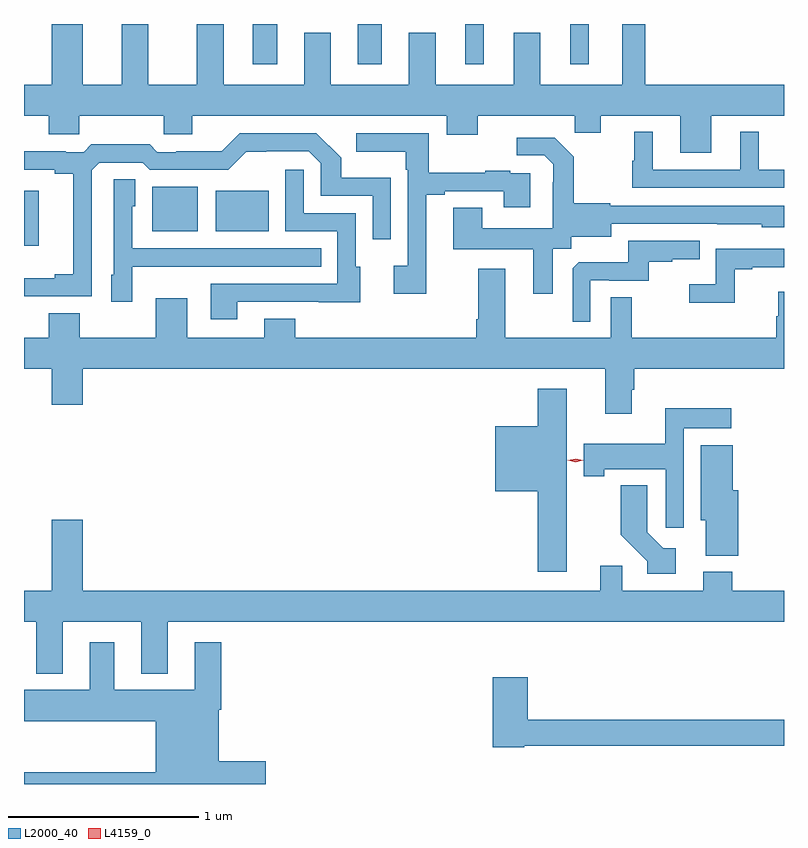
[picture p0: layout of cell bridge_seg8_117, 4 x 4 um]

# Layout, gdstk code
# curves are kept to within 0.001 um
import gdstk
lib = gdstk.Library(unit=1e-6, precision=1e-09)
def R(c, l, rs):  # rectangles x0, y0, x1, y1
    for r in rs: c.add(gdstk.rectangle(r[:2], r[2:], *l))
def P(c, l, *ps):  # polygons
    for p in ps: c.add(gdstk.Polygon(p, *l))
L2000_40 = (2000, 40)
L4159_0 = (4159, 0)

bridge_seg8_117 = lib.new_cell('bridge_seg8_117')
R(bridge_seg8_117, L2000_40, [(812.215,1131.8,812.293,1132.09), (812.891,1131.875,813.13,1132.111), (813.224,1131.875,813.502,1132.09), (813.419,1132.755,813.547,1132.967), (813.971,1132.755,814.099,1132.967), (814.538,1132.755,814.636,1132.967), (815.09,1132.755,815.188,1132.967)])
P(bridge_seg8_117, L2000_40, [(815.833,1132.484),(816.215,1132.484),(816.215,1132.648),(815.485,1132.648),(815.485,1132.967),(815.363,1132.967),(815.363,1132.648),(814.933,1132.648),(814.933,1132.921),(814.793,1132.921),(814.793,1132.648),(814.381,1132.648),(814.381,1132.921),(814.241,1132.921),(814.241,1132.648),(813.829,1132.648),(813.829,1132.921),(813.689,1132.921),(813.689,1132.648),(813.265,1132.648),(813.265,1132.967),(813.125,1132.967),(813.125,1132.648),(812.869,1132.648),(812.869,1132.967),(812.729,1132.967),(812.729,1132.648),(812.524,1132.648),(812.524,1132.967),(812.36,1132.967),(812.36,1132.648),(812.215,1132.648),(812.215,1132.484),(812.345,1132.484),(812.345,1132.386),(812.505,1132.386),(812.505,1132.484),(812.95,1132.484),(812.95,1132.386),(813.1,1132.386),(813.1,1132.484),(814.439,1132.484),(814.439,1132.385),(814.603,1132.385),(814.603,1132.484),(815.113,1132.484),(815.113,1132.394),(815.251,1132.394),(815.251,1132.484),(815.669,1132.484),(815.669,1132.29),(815.833,1132.29)],
  [(816.215,1132.2),(816.082,1132.2),(816.082,1132.399),(815.984,1132.399),(815.984,1132.2),(815.524,1132.2),(815.524,1132.399),(815.426,1132.399),(815.426,1132.248),(815.415,1132.248),(815.415,1132.104),(816.215,1132.104)],
  [(812.571,1132.197),(812.61,1132.236),(812.841,1132.236),(812.877,1132.2),(813.291,1132.2),(813.386,1132.295),(813.714,1132.296),(813.777,1132.233),(813.777,1132.062),(814.05,1132.062),(814.05,1131.834),(814.146,1131.834),(814.146,1132.159),(813.885,1132.159),(813.885,1132.262),(813.754,1132.392),(813.351,1132.392),(813.257,1132.298),(813.016,1132.298),(813.016,1132.293),(812.916,1132.293),(812.877,1132.333),(812.569,1132.333),(812.529,1132.293),(812.435,1132.293),(812.435,1132.298),(812.215,1132.298),(812.215,1132.2),(812.378,1132.2),(812.378,1132.178),(812.474,1132.178),(812.474,1131.65),(812.378,1131.65),(812.378,1131.63),(812.215,1131.63),(812.215,1131.534),(812.571,1131.534)],
  [(814.333,1132.068),(814.429,1132.068),(814.429,1132.086),(814.739,1132.086),(814.739,1132.002),(814.879,1132.002),(814.879,1132.182),(814.775,1132.182),(814.775,1132.195),(814.643,1132.195),(814.643,1132.184),(814.345,1132.184),(814.345,1132.392),(813.963,1132.392),(813.963,1132.295),(814.224,1132.295),(814.224,1132.199),(814.236,1132.199),(814.236,1131.694),(814.161,1131.694),(814.161,1131.546),(814.333,1131.546)],
  [(814.999,1131.784),(815.094,1131.784),(815.094,1131.848),(815.305,1131.848),(815.305,1131.915),(816.099,1131.914),(816.099,1131.896),(816.215,1131.896),(816.215,1132.011),(815.301,1132.011),(815.301,1132.024),(815.109,1132.024),(815.109,1132.269),(815.009,1132.369),(814.809,1132.369),(814.809,1132.275),(814.953,1132.275),(815,1132.228),(815,1132.133),(814.998,1132.133),(814.998,1131.892),(814.627,1131.892),(814.627,1132.001),(814.475,1132.001),(814.475,1131.782),(814.895,1131.782),(814.895,1131.546),(814.999,1131.546)],
  [(813.337,1131.504),(813.767,1131.504),(813.767,1131.503),(813.985,1131.503),(813.985,1131.69),(813.96,1131.69),(813.96,1131.972),(813.687,1131.972),(813.687,1132.201),(813.591,1132.201),(813.591,1131.876),(813.864,1131.876),(813.864,1131.6),(813.197,1131.6),(813.197,1131.414),(813.337,1131.414)],
  [(812.784,1131.689),(813.101,1131.689),(813.101,1131.69),(813.779,1131.69),(813.779,1131.786),(812.784,1131.786),(812.784,1132.008),(812.8,1132.008),(812.8,1132.151),(812.688,1132.151),(812.688,1131.648),(812.675,1131.648),(812.675,1131.504),(812.784,1131.504)],
  [(815.196,1131.618),(815.296,1131.618),(815.296,1131.615),(815.504,1131.615),(815.504,1131.717),(815.627,1131.717),(815.627,1131.728),(815.771,1131.728),(815.771,1131.825),(815.394,1131.825),(815.394,1131.713),(815.135,1131.713),(815.103,1131.681),(815.103,1131.401),(815.196,1131.401)],
  [(815.955,1131.675),(816.049,1131.675),(816.049,1131.687),(816.215,1131.687),(816.215,1131.783),(815.856,1131.783),(815.856,1131.598),(815.715,1131.598),(815.715,1131.5),(815.955,1131.5)],
  [(815.413,1131.042),(815.426,1131.042),(815.426,1131.152),(816.215,1131.152),(816.215,1131.559),(816.185,1131.559),(816.185,1131.429),(816.173,1131.429),(816.173,1131.316),(815.413,1131.316),(815.413,1131.53),(815.304,1131.53),(815.304,1131.316),(814.747,1131.316),(814.747,1131.679),(814.607,1131.679),(814.607,1131.412),(814.595,1131.412),(814.595,1131.316),(813.643,1131.316),(813.643,1131.415),(813.479,1131.415),(813.479,1131.316),(813.073,1131.316),(813.073,1131.523),(812.909,1131.523),(812.909,1131.316),(812.509,1131.316),(812.509,1131.445),(812.345,1131.445),(812.345,1131.316),(812.215,1131.316),(812.215,1131.152),(812.36,1131.152),(812.36,1130.964),(812.524,1130.964),(812.524,1131.152),(815.273,1131.152),(815.273,1130.916),(815.413,1130.916)],
  [(815.071,1131.046),(814.919,1131.046),(814.919,1130.851),(814.694,1130.851),(814.694,1130.507),(814.919,1130.507),(814.919,1130.085),(815.071,1130.085)],
  [(815.688,1130.84),(815.938,1130.84),(815.938,1130.944),(815.591,1130.944),(815.591,1130.758),(815.16,1130.758),(815.16,1130.588),(815.269,1130.588),(815.269,1130.624),(815.592,1130.624),(815.592,1130.316),(815.688,1130.316)],
  [(815.975,1130.514),(815.944,1130.514),(815.944,1130.749),(815.777,1130.749),(815.777,1130.355),(815.804,1130.355),(815.804,1130.168),(815.975,1130.168)],
  [(815.644,1130.209),(815.579,1130.209),(815.496,1130.292),(815.496,1130.539),(815.357,1130.539),(815.357,1130.278),(815.496,1130.139),(815.496,1130.073),(815.644,1130.073)],
  [(812.419,1129.82),(812.831,1129.82),(812.831,1129.547),(812.971,1129.547),(812.971,1129.82),(816.215,1129.82),(816.215,1129.984),(815.942,1129.984),(815.942,1130.083),(815.789,1130.083),(815.789,1129.984),(815.364,1129.984),(815.364,1130.116),(815.249,1130.116),(815.249,1129.984),(812.524,1129.984),(812.524,1130.359),(812.36,1130.359),(812.36,1129.984),(812.215,1129.984),(812.215,1129.82),(812.279,1129.82),(812.279,1129.547),(812.419,1129.547)],
  [(813.487,1129.088),(813.241,1129.088),(813.241,1129.358),(813.254,1129.358),(813.254,1129.714),(813.113,1129.714),(813.113,1129.462),(812.689,1129.462),(812.689,1129.714),(812.561,1129.714),(812.561,1129.462),(812.215,1129.462),(812.215,1129.298),(812.909,1129.298),(812.909,1129.028),(812.215,1129.028),(812.215,1128.967),(813.487,1128.967)],
  [(814.848,1129.168),(816.215,1129.168),(816.215,1129.304),(814.865,1129.304),(814.865,1129.528),(814.682,1129.528),(814.682,1129.16),(814.848,1129.16)])
P(bridge_seg8_117, L4159_0, [(815.118,1130.66),(815.077,1130.67),(815.077,1130.67),(815.077,1130.67),(815.118,1130.68),(815.159,1130.671),(815.159,1130.671),(815.159,1130.67)])

lib.write_gds('bridge_seg8_117.gds')
